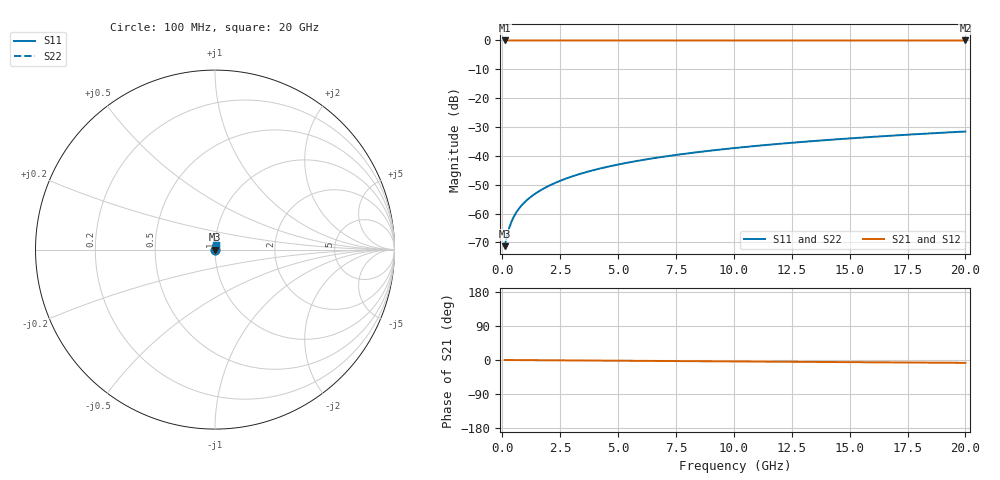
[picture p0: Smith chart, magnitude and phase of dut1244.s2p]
! Touchstone file exported from HFSS 2026.1.0
!  File:  C:/ffzhzh/LocalFiles/Ansys_Project_Files/temp_train_TSV_1244_1783193543_55132.aedt
!  Generated:  03:34:16 AM Jul  5, 2026
!  Design:  TSV
!  Project:  temp_train_TSV_1244_1783193543_55132
! Variables:
!  h_bsmrdl = 2um
!  h_ox = 20um
!  h_rdl = 5um
!  h_sub = 73.64um
!  h_tmrdl = 5um
!  h_tsv = 73.64um
!  h_via = 3um
!  l_bsmrdl = 300um
!  l_sub = 414.08um
!  l_tmrdl = 200um
!  m_sub = 200um
!  pitch = 36.72um
!  r_tsv = 7.04um
!  s_tmrdl = 10um
!  w_bsmrdl = 18um
!  w_sub = 500um
!  w_tmrdl = 12um
!  x_tsv_center1 = 206um
!  x_tsv_center2 = 524um
!  x_tsv_center3 = 736um
!  x_tsv_center4 = 1054um
!  x_tsv_center5 = 1266um
!  x_tsv_center6 = 1584um
# GHz S MA R 50.000000
! Terminal data exported
! Port[1] = TSV1_1_T1
! Port[2] = TSV1_1_T2
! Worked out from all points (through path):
!   200 points, 100 MHz to 20 GHz, reference 50 ohm
!   highest |S21| = 0.00 dB at 100 MHz (marker M1); lowest = 0.0 dB at 20 GHz (marker M2)
!   group delay of S21, straight-line fit = 1.04 ps
!   lowest |S11| = -71.3 dB at 100 MHz (marker M3), VSWR 1.00, Z = 50 + j0.0175 ohm
!   |S11| at or under -10 dB: start of sweep to end of sweep
!   |S22| runs from -71.3 to -31.6 dB; largest |S21 - S12| = 1.2e-15
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0.1  0.0002716 40.2  0.9998 -0.0  0.9998 -0.0  0.0002716 40.2
! Gamma 0 0 0 0
! Port Impedance 50 0 50 0
0.2  0.0004111 57.9  0.9998 -0.1  0.9998 -0.1  0.0004111 57.9
0.3  0.0005679 65.5  0.9998 -0.1  0.9998 -0.1  0.0005679 65.5
0.4  0.000727 69.3  0.9997 -0.2  0.9997 -0.2  0.000727 69.3
0.5  0.0008838 71.6  0.9997 -0.2  0.9997 -0.2  0.0008838 71.6
0.6  0.001037 73.0  0.9997 -0.2  0.9997 -0.2  0.001037 73.0
0.7  0.001187 74.0  0.9997 -0.3  0.9997 -0.3  0.001187 74.0
0.8  0.001334 74.8  0.9997 -0.3  0.9997 -0.3  0.001334 74.8
1  0.00162 76.1  0.9996 -0.4  0.9996 -0.4  0.00162 76.1
1.4  0.002178 77.8  0.9996 -0.5  0.9996 -0.5  0.002178 77.8
1.7  0.002592 78.8  0.9995 -0.7  0.9995 -0.7  0.002592 78.8
2  0.003005 79.5  0.9995 -0.8  0.9995 -0.8  0.003005 79.5
2.7  0.003964 80.7  0.9994 -1.0  0.9994 -1.0  0.003964 80.7
3.5  0.005053 81.3  0.9993 -1.3  0.9993 -1.3  0.005053 81.3
4.2  0.005998 81.6  0.9993 -1.6  0.9993 -1.6  0.005998 81.6
5  0.007068 81.8  0.9992 -1.9  0.9992 -1.9  0.007068 81.8
6.8  0.009445 81.9  0.999 -2.6  0.999 -2.6  0.009445 81.9
8.3  0.0114 81.8  0.9989 -3.1  0.9989 -3.1  0.0114 81.8
10.1  0.01374 81.6  0.9988 -3.8  0.9988 -3.8  0.01374 81.6
13.4  0.018 80.9  0.9986 -5.0  0.9986 -5.0  0.018 80.9
16.7  0.02223 80.1  0.9983 -6.3  0.9983 -6.3  0.02223 80.1
20  0.02641 79.1  0.9981 -7.5  0.9981 -7.5  0.02641 79.1
